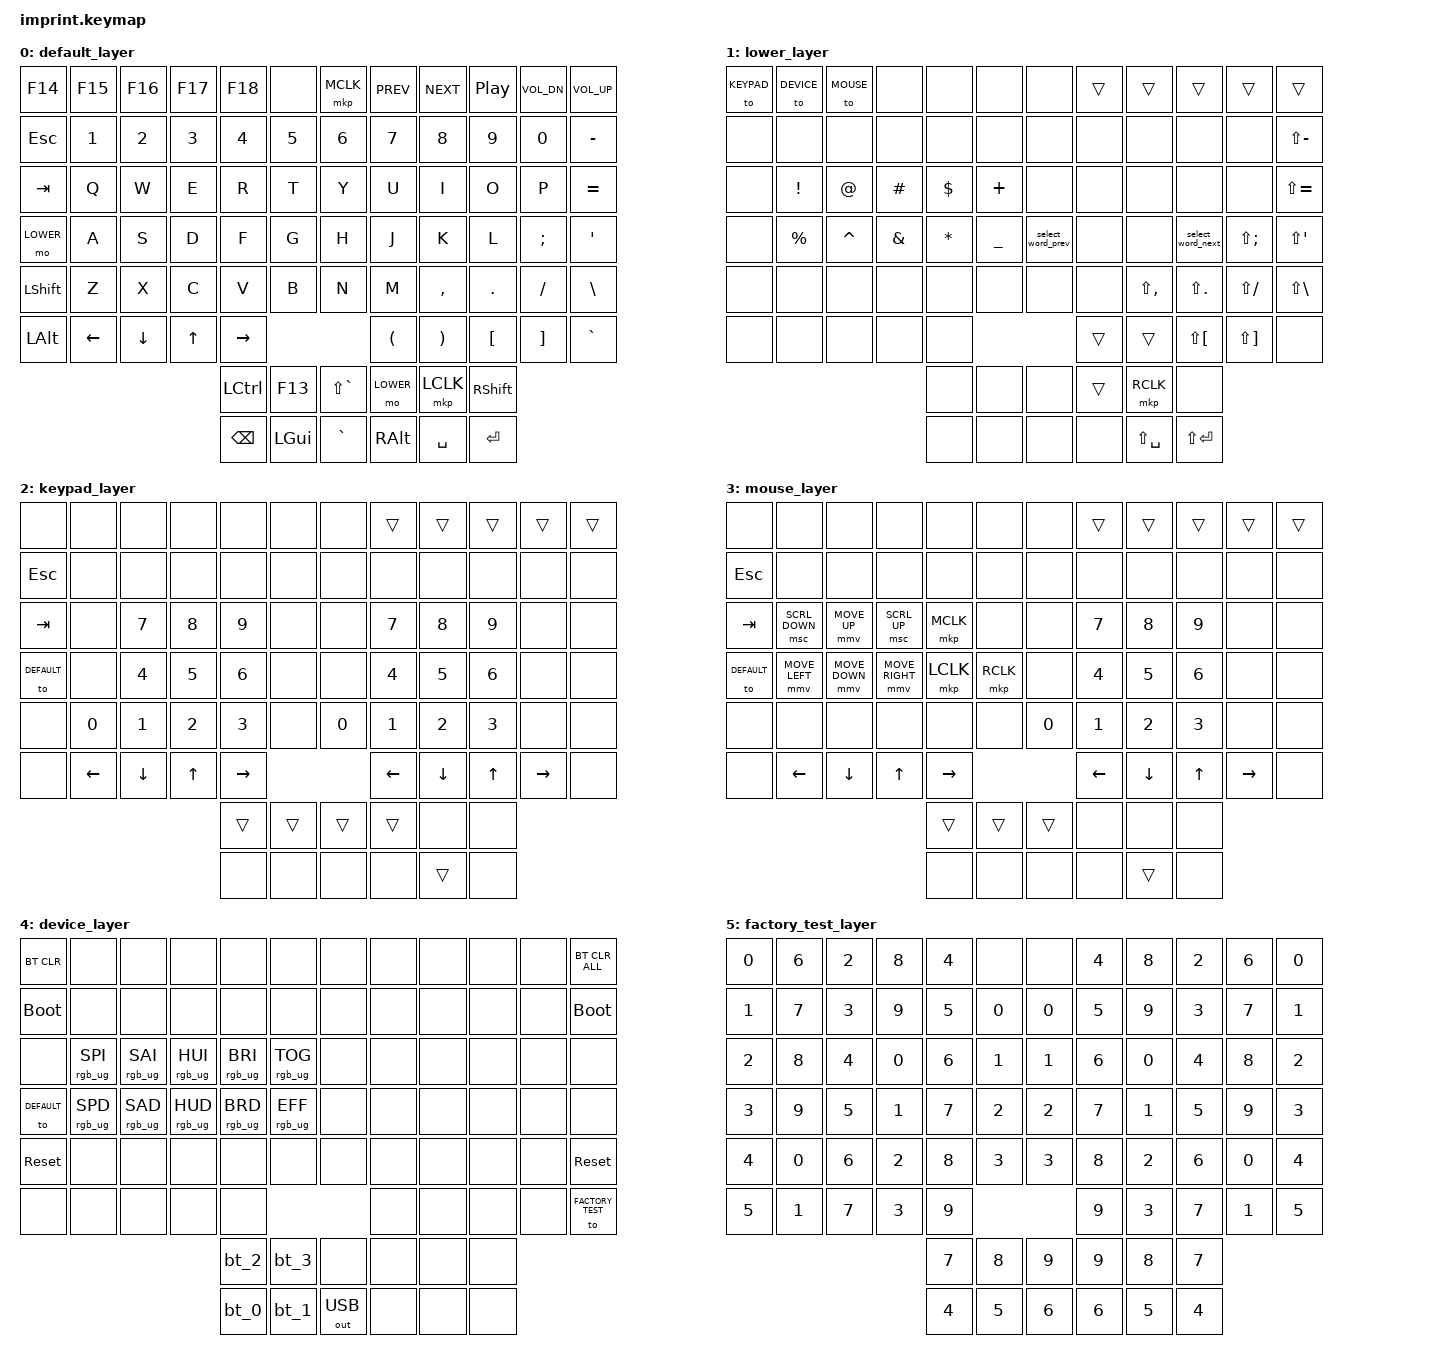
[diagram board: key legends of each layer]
#include <input/processors.dtsi>
#include <dt-bindings/zmk/input_transform.h>
#include <behaviors.dtsi>
#include <dt-bindings/zmk/bt.h>
#include <dt-bindings/zmk/ext_power.h>
#include <dt-bindings/zmk/keys.h>
#include <dt-bindings/zmk/outputs.h>
#include <dt-bindings/zmk/pointing.h>
#include <dt-bindings/zmk/rgb.h>

#define DEFAULT 0
#define LOWER 1
#define KEYPAD 2
#define MOUSE 3
#define DEVICE 4
#define FACTORY_TEST 5

#define _WM LALT
#define SEL_WORD_DELAY 1

/ {
    chosen { zmk,matrix-transform = &imprint_function_row_full_bottom_row; };

    macros {
        _select_word_next: _select_word_next {
            compatible = "zmk,behavior-macro";
            #binding-cells = <0>;
            wait-ms = <SEL_WORD_DELAY>;
            tap-ms = <SEL_WORD_DELAY>;
            bindings =
                <&macro_press &kp _WM>,
                <&macro_tap &kp RIGHT &kp LEFT &kp LS(RIGHT)>,
                <&macro_release &kp _WM>;
        };

        _extend_word_next: _extend_word_next {
            compatible = "zmk,behavior-macro";
            #binding-cells = <0>;
            wait-ms = <SEL_WORD_DELAY>;
            tap-ms = <SEL_WORD_DELAY>;
            bindings =
                <&macro_press &kp _WM>,
                <&macro_tap &kp LS(RIGHT)>,
                <&macro_release &kp _WM>;
        };

        select_word_next: select_word_next {
            compatible = "zmk,behavior-mod-morph";
            #binding-cells = <0>;
            bindings = <&_select_word_next>, <&_extend_word_next>;
            mods = <(MOD_LGUI | MOD_RGUI)>;
        };

        _select_word_prev: _select_word_prev {
            compatible = "zmk,behavior-macro";
            #binding-cells = <0>;
            wait-ms = <SEL_WORD_DELAY>;
            tap-ms = <SEL_WORD_DELAY>;
            bindings =
                <&macro_press &kp _WM>,
                <&macro_tap &kp LEFT &kp RIGHT &kp LS(LEFT)>,
                <&macro_release &kp _WM>;
        };

        _extend_word_prev: _extend_word_prev {
            compatible = "zmk,behavior-macro";
            #binding-cells = <0>;
            wait-ms = <SEL_WORD_DELAY>;
            tap-ms = <SEL_WORD_DELAY>;
            bindings =
                <&macro_press &kp _WM>,
                <&macro_tap &kp LS(LEFT)>,
                <&macro_release &kp _WM>;
        };

        select_word_prev: select_word_prev {
            compatible = "zmk,behavior-mod-morph";
            #binding-cells = <0>;
            bindings = <&_select_word_prev>, <&_extend_word_prev>;
            mods = <(MOD_LGUI | MOD_RGUI)>;
        };

        bt_0: bt_profile_macro_0 {
            compatible = "zmk,behavior-macro";
            #binding-cells = <0>;
            bindings = <&out OUT_BLE>, <&bt BT_SEL 0>;
        };

        bt_1: bt_profile_macro_1 {
            compatible = "zmk,behavior-macro";
            #binding-cells = <0>;
            bindings = <&out OUT_BLE>, <&bt BT_SEL 1>;
        };

        bt_2: bt_profile_macro_2 {
            compatible = "zmk,behavior-macro";
            #binding-cells = <0>;
            bindings = <&out OUT_BLE>, <&bt BT_SEL 2>;
        };

        bt_3: bt_profile_macro_3 {
            compatible = "zmk,behavior-macro";
            #binding-cells = <0>;
            bindings = <&out OUT_BLE>, <&bt BT_SEL 3>;
        };
    };

    keymap {
        compatible = "zmk,keymap";

        default_layer {
            bindings = <
&kp F14     &kp F15   &kp F16   &kp F17  &kp F18    &none            &mkp MCLK      &kp C_PREV  &kp C_NEXT  &kp C_PP  &kp C_VOL_DN  &kp C_VOL_UP
&kp ESC     &kp N1    &kp N2    &kp N3   &kp N4     &kp N5           &kp N6         &kp N7      &kp N8      &kp N9    &kp N0        &kp MINUS
&kp TAB     &kp Q     &kp W     &kp E    &kp R      &kp T            &kp Y          &kp U       &kp I       &kp O     &kp P         &kp EQUAL
&mo LOWER   &kp A     &kp S     &kp D    &kp F      &kp G            &kp H          &kp J       &kp K       &kp L     &kp SEMI      &kp SQT
&kp LSHIFT  &kp Z     &kp X     &kp C    &kp V      &kp B            &kp N          &kp M       &kp COMMA   &kp DOT   &kp FSLH      &kp BSLH
&kp LALT    &kp LEFT  &kp DOWN  &kp UP   &kp RIGHT                                  &kp LPAR    &kp RPAR    &kp LBKT  &kp RBKT      &kp GRAVE
                                           &kp LCTRL  &kp F13   &kp LS(GRAVE)      &mo LOWER  &mkp LCLK    &kp RSHIFT
                                           &kp BSPC   &kp LGUI  &kp GRAVE          &kp RALT   &kp SPACE    &kp RET
            >;
        };

        lower_layer {
            bindings = <
&to   KEYPAD  &to DEVICE  &to MOUSE   &none     &none       &none            &none              &trans  &trans         &trans             &trans        &trans
&none &none       &none       &none     &none       &none            &none              &none   &none          &none              &none         &kp LS(MINUS)
&none &kp EXCL    &kp AT_SIGN &kp HASH  &kp DOLLAR  &kp PLUS         &none              &none   &none          &none              &none         &kp LS(EQUAL)
&none &kp PERCENT &kp CARET   &kp AMPS  &kp ASTRK   &kp UNDER        &select_word_prev  &none   &none          &select_word_next  &kp LS(SEMI)  &kp LS(SQT)
&none &none       &none       &none     &none       &none            &none              &none   &kp LS(COMMA)  &kp LS(DOT)        &kp LS(FSLH)  &kp LS(BSLH)
&none &none       &none       &none     &none                                          &trans             &trans  &kp LS(LBKT)   &kp LS(RBKT)       &none
                                           &none  &none  &none                   &trans  &mkp RCLK      &none
                                           &none  &none  &none                   &none   &kp LS(SPACE)  &kp LS(RET)
            >;
        };

        keypad_layer {
            bindings = <
&none        &none     &none     &none   &none      &none            &none   &trans    &trans    &trans  &trans     &trans
&kp ESC      &none     &none     &none   &none      &none            &none   &none     &none     &none   &none      &none
&kp TAB      &none     &kp N7    &kp N8  &kp N9     &none            &none   &kp N7    &kp N8    &kp N9  &none      &none
&to DEFAULT  &none     &kp N4    &kp N5  &kp N6     &none            &none   &kp N4    &kp N5    &kp N6  &none      &none
&none        &kp N0    &kp N1    &kp N2  &kp N3     &none            &kp N0  &kp N1    &kp N2    &kp N3  &none      &none
&none        &kp LEFT  &kp DOWN  &kp UP  &kp RIGHT                            &kp LEFT  &kp DOWN  &kp UP  &kp RIGHT  &none
                                           &trans  &trans  &trans  &trans  &none  &none
                                           &none   &none   &none   &none   &trans &none
            >;
        };

        mouse_layer {
            bindings = <
&none        &none           &none           &none            &none      &none            &none   &trans    &trans    &trans  &trans     &trans
&kp ESC      &none           &none           &none            &none      &none            &none   &none     &none     &none   &none      &none
&kp TAB      &msc SCRL_DOWN  &mmv MOVE_UP    &msc SCRL_UP     &mkp MCLK  &none            &none   &kp N7    &kp N8    &kp N9  &none      &none
&to DEFAULT  &mmv MOVE_LEFT  &mmv MOVE_DOWN  &mmv MOVE_RIGHT  &mkp LCLK  &mkp RCLK        &none   &kp N4    &kp N5    &kp N6  &none      &none
&none        &none           &none           &none            &none      &none            &kp N0  &kp N1    &kp N2    &kp N3  &none      &none
&none        &kp LEFT        &kp DOWN        &kp UP           &kp RIGHT                           &kp LEFT  &kp DOWN  &kp UP  &kp RIGHT  &none
                                           &trans     &trans  &trans  &none   &none   &none
                                           &none      &none   &none   &none   &trans  &none
            >;
        };

        device_layer {
            bindings = <
&bt BT_CLR   &none           &none           &none            &none            &none            &none  &none  &none  &none  &none  &bt BT_CLR_ALL
&bootloader  &none           &none           &none            &none            &none            &none  &none  &none  &none  &none  &bootloader
&none        &rgb_ug RGB_SPI &rgb_ug RGB_SAI &rgb_ug RGB_HUI  &rgb_ug RGB_BRI  &rgb_ug RGB_TOG  &none  &none  &none  &none  &none  &none
&to DEFAULT  &rgb_ug RGB_SPD &rgb_ug RGB_SAD &rgb_ug RGB_HUD  &rgb_ug RGB_BRD  &rgb_ug RGB_EFF  &none  &none  &none  &none  &none  &none
&sys_reset   &none           &none           &none            &none            &none            &none  &none  &none  &none  &none  &sys_reset
&none        &none           &none           &none            &none                                    &none  &none  &none  &none  &to FACTORY_TEST
                                           &bt_2  &bt_3  &none          &none  &none  &none
                                           &bt_0  &bt_1  &out OUT_USB   &none  &none  &none
            >;
        };

        factory_test_layer {
            bindings = <
&kp N0  &kp N6  &kp N2  &kp N8  &kp N4  &none           &none   &kp N4  &kp N8  &kp N2  &kp N6  &kp N0
&kp N1  &kp N7  &kp N3  &kp N9  &kp N5  &kp N0          &kp N0  &kp N5  &kp N9  &kp N3  &kp N7  &kp N1
&kp N2  &kp N8  &kp N4  &kp N0  &kp N6  &kp N1          &kp N1  &kp N6  &kp N0  &kp N4  &kp N8  &kp N2
&kp N3  &kp N9  &kp N5  &kp N1  &kp N7  &kp N2          &kp N2  &kp N7  &kp N1  &kp N5  &kp N9  &kp N3
&kp N4  &kp N0  &kp N6  &kp N2  &kp N8  &kp N3          &kp N3  &kp N8  &kp N2  &kp N6  &kp N0  &kp N4
&kp N5  &kp N1  &kp N7  &kp N3  &kp N9                          &kp N9  &kp N3  &kp N7  &kp N1  &kp N5
                                  &kp N7  &kp N8  &kp N9  &kp N9  &kp N8  &kp N7
                                  &kp N4  &kp N5  &kp N6  &kp N6  &kp N5  &kp N4
            >;
        };
    };
};

&trackball_peripheral_listener {
    input-processors =
        <&zip_xy_transform 0>,
        <&zip_xy_scaler 1 2>;

    scroll_layer {
        layers = <LOWER>;
        input-processors =
            <&zip_xy_transform 0>,
            <&zip_xy_scaler 1 24>,
            <&zip_xy_to_scroll_mapper>,
            <&zip_scroll_transform INPUT_TRANSFORM_Y_INVERT>;
    };
};
